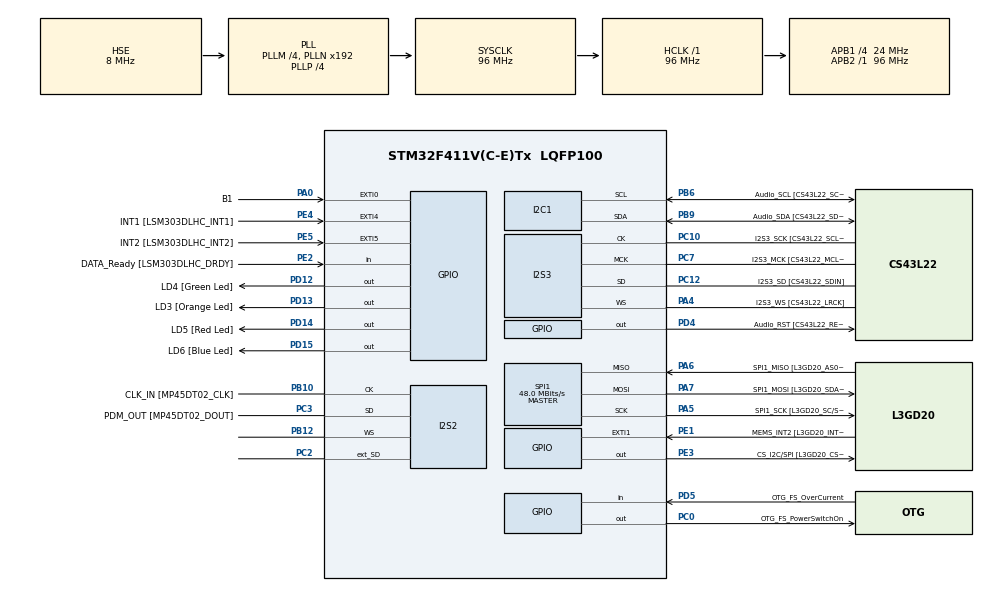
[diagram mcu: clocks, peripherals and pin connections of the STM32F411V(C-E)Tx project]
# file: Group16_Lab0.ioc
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I2S2.AudioFreq=I2S_AUDIOFREQ_96K
I2S2.ErrorAudioFreq=0.15 %
I2S2.FullDuplexMode=I2S_FULLDUPLEXMODE_ENABLE
I2S2.Instance=SPI$Index
I2S2.RealAudioFreq=96.153 KHz
I2S2.VirtualMode=I2S_MODE_MASTER
I2S3.AudioFreq=I2S_AUDIOFREQ_96K
I2S3.ErrorAudioFreq=-6.99 %
I2S3.FullDuplexMode=I2S_FULLDUPLEXMODE_DISABLE
I2S3.Instance=SPI$Index
I2S3.RealAudioFreq=89.285 KHz
I2S3.VirtualMode=I2S_MODE_MASTER
Mcu.Family=STM32F4
Mcu.Name=STM32F411V(C-E)Tx
Mcu.Package=LQFP100
NVIC.PriorityGroup=NVIC_PRIORITYGROUP_0
PA0-WKUP.GPIO_Label=B1
PA0-WKUP.GPIO_ModeDefaultEXTI=GPIO_MODE_EVT_RISING
PA0-WKUP.Signal=GPXTI0
PA10.GPIO_Label=OTG_FS_ID
PA10.Signal=USB_OTG_FS_ID
PA11.GPIO_Label=OTG_FS_DM
PA11.Signal=USB_OTG_FS_DM
PA12.GPIO_Label=OTG_FS_DP
PA12.Signal=USB_OTG_FS_DP
PA13.GPIO_Label=SWDIO
PA13.Mode=Serial_Wire
PA13.Signal=SYS_JTMS-SWDIO
PA14.GPIO_Label=SWCLK
PA14.Mode=Serial_Wire
PA14.Signal=SYS_JTCK-SWCLK
PA4.GPIO_Label=I2S3_WS [CS43L22_LRCK]
PA4.GPIO_Mode=GPIO_MODE_AF_PP
PA4.GPIO_PuPd=GPIO_NOPULL
PA4.GPIO_Speed=GPIO_SPEED_FREQ_LOW
PA4.Mode=Half_Duplex_Master
PA4.Signal=I2S3_WS
PA5.GPIO_Label=SPI1_SCK [L3GD20_SC/SPC]
PA5.Mode=Full_Duplex_Master
PA5.Signal=SPI1_SCK
PA6.GPIO_Label=SPI1_MISO [L3GD20_AS0/SDO]
PA6.Mode=Full_Duplex_Master
PA6.Signal=SPI1_MISO
PA7.GPIO_Label=SPI1_MOSI [L3GD20_SDA/SDI/SDO]
PA7.Mode=Full_Duplex_Master
PA7.Signal=SPI1_MOSI
PA9.GPIO_Label=VBUS_FS
PA9.Signal=USB_OTG_FS_VBUS
PB10.GPIO_Label=CLK_IN [MP45DT02_CLK]
PB10.Mode=Full_Duplex_Master
PB10.Signal=I2S2_CK
PB12.Mode=Full_Duplex_Master
PB12.Signal=I2S2_WS
PB3.GPIO_Label=SWO
PB3.Signal=SYS_JTDO-SWO
PB6.GPIO_Label=Audio_SCL [CS43L22_SCL]
PB6.GPIO_Mode=GPIO_MODE_AF_OD
PB6.GPIO_Pu=GPIO_PULLUP
PB6.GPIO_PuPd=GPIO_NOPULL
PB6.GPIO_Speed=GPIO_SPEED_FREQ_LOW
PB6.Mode=I2C
PB6.Signal=I2C1_SCL
PB9.GPIO_Label=Audio_SDA [CS43L22_SDA]
PB9.GPIO_Mode=GPIO_MODE_AF_OD
PB9.GPIO_Pu=GPIO_PULLUP
PB9.GPIO_PuPd=GPIO_NOPULL
PB9.GPIO_Speed=GPIO_SPEED_FREQ_LOW
PB9.Mode=I2C
PB9.Signal=I2C1_SDA
PC0.GPIO_Label=OTG_FS_PowerSwitchOn
PC0.PinState=GPIO_PIN_SET
PC0.Signal=GPIO_Output
PC10.GPIO_Label=I2S3_SCK [CS43L22_SCLK]
PC10.GPIO_Mode=GPIO_MODE_AF_PP
PC10.GPIO_PuPd=GPIO_NOPULL
PC10.GPIO_Speed=GPIO_SPEED_FREQ_LOW
PC10.Mode=Half_Duplex_Master
PC10.Signal=I2S3_CK
PC12.GPIO_Label=I2S3_SD [CS43L22_SDIN]
PC12.GPIO_Mode=GPIO_MODE_AF_PP
PC12.GPIO_PuPd=GPIO_NOPULL
PC12.GPIO_Speed=GPIO_SPEED_FREQ_LOW
PC12.Mode=Half_Duplex_Master
PC12.Signal=I2S3_SD
PC14-OSC32_IN.GPIO_Label=PC14-OSC32_IN
PC14-OSC32_IN.Mode=LSE-External-Oscillator
PC14-OSC32_IN.Signal=RCC_OSC32_IN
PC15-OSC32_OUT.GPIO_Label=PC15-OSC32_OUT
PC15-OSC32_OUT.Mode=LSE-External-Oscillator
PC15-OSC32_OUT.Signal=RCC_OSC32_OUT
PC2.Mode=Full_Duplex_Master
PC2.Signal=I2S2_ext_SD
PC3.GPIO_Label=PDM_OUT [MP45DT02_DOUT]
PC3.Mode=Full_Duplex_Master
PC3.Signal=I2S2_SD
PC7.GPIO_Label=I2S3_MCK [CS43L22_MCLK]
PC7.GPIO_Mode=GPIO_MODE_AF_PP
PC7.GPIO_PuPd=GPIO_NOPULL
PC7.GPIO_Speed=GPIO_SPEED_FREQ_LOW
PC7.Mode=Master_Clock_Activated
PC7.Signal=I2S3_MCK
PD12.GPIO_Label=LD4 [Green Led]
PD12.GPIO_PuPd=GPIO_NOPULL
PD12.GPIO_Speed=GPIO_SPEED_FREQ_LOW
PD12.Signal=GPIO_Output
PD13.GPIO_Label=LD3 [Orange Led]
PD13.GPIO_PuPd=GPIO_NOPULL
PD13.GPIO_Speed=GPIO_SPEED_FREQ_LOW
PD13.Signal=GPIO_Output
PD14.GPIO_Label=LD5 [Red Led]
PD14.GPIO_PuPd=GPIO_NOPULL
PD14.GPIO_Speed=GPIO_SPEED_FREQ_LOW
PD14.Signal=GPIO_Output
PD15.GPIO_Label=LD6 [Blue Led]
PD15.GPIO_PuPd=GPIO_NOPULL
PD15.GPIO_Speed=GPIO_SPEED_FREQ_LOW
PD15.Signal=GPIO_Output
PD4.GPIO_Label=Audio_RST [CS43L22_RESET]
PD4.Signal=GPIO_Output
PD5.GPIO_Label=OTG_FS_OverCurrent
PD5.Signal=GPIO_Input
PE1.GPIO_Label=MEMS_INT2 [L3GD20_INT2]
PE1.GPIO_ModeDefaultEXTI=GPIO_MODE_EVT_RISING
PE1.Signal=GPXTI1
PE2.GPIO_Label=DATA_Ready [LSM303DLHC_DRDY]
PE2.Signal=GPIO_Input
PE3.GPIO_Label=CS_I2C/SPI [L3GD20_CS_I2C/SPI]
PE3.Signal=GPIO_Output
PE4.GPIO_Label=INT1 [LSM303DLHC_INT1]
PE4.GPIO_ModeDefaultEXTI=GPIO_MODE_EVT_RISING
PE4.Signal=GPXTI4
PE5.GPIO_Label=INT2 [LSM303DLHC_INT2]
PE5.GPIO_ModeDefaultEXTI=GPIO_MODE_EVT_RISING
PE5.Signal=GPXTI5
PH0\ -\ OSC_IN.GPIO_Label=PH0-OSC_IN
PH0\ -\ OSC_IN.Mode=HSE-External-Oscillator
PH0\ -\ OSC_IN.Signal=RCC_OSC_IN
PH1\ -\ OSC_OUT.GPIO_Label=PH1-OSC_OUT
PH1\ -\ OSC_OUT.Mode=HSE-External-Oscillator
PH1\ -\ OSC_OUT.Signal=RCC_OSC_OUT
ProjectManager.HeapSize=0x200
ProjectManager.StackSize=0x400
ProjectManager.TargetToolchain=STM32CubeIDE
RCC.48MHZClocksFreq_Value=48000000
RCC.AHBFreq_Value=96000000
RCC.APB1CLKDivider=RCC_HCLK_DIV4
RCC.APB1Freq_Value=24000000
RCC.APB1TimFreq_Value=48000000
RCC.APB2Freq_Value=96000000
RCC.APB2TimFreq_Value=96000000
RCC.CortexFreq_Value=96000000
RCC.HCLKFreq_Value=96000000
RCC.HSE_VALUE=8000000
RCC.HSI_VALUE=16000000
RCC.PLLI2SM=5
RCC.PLLI2SN=200
RCC.PLLM=4
RCC.PLLP=RCC_PLLP_DIV4
RCC.PLLQ=8
RCC.PLLSourceVirtual=RCC_PLLSOURCE_HSE
RCC.SYSCLKFreq_VALUE=96000000
RCC.SYSCLKSource=RCC_SYSCLKSOURCE_PLLCLK
RCC.VCOOutputFreq_Value=384000000
SPI1.BaudRatePrescaler=SPI_BAUDRATEPRESCALER_2
SPI1.CalculateBaudRate=48.0 MBits/s
SPI1.Direction=SPI_DIRECTION_2LINES
SPI1.Mode=SPI_MODE_MASTER
SPI1.VirtualType=VM_MASTER
board=STM32F411E-DISCO

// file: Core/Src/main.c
/* USER CODE BEGIN Header */
/**
  ******************************************************************************
  * @file           : main.c
  * @brief          : Main program body
  ******************************************************************************
  * @attention
  *
  * Copyright (c) 2025 STMicroelectronics.
  * All rights reserved.
  *
  * This software is licensed under terms that can be found in the LICENSE file
  * in the root directory of this software component.
  * If no LICENSE file comes with this software, it is provided AS-IS.
  *
  ******************************************************************************
  */
/* USER CODE END Header */
#include "main.h"

/* USER CODE BEGIN PD */
#define ITM_Port32(n) (*((volatile unsigned long *)(0xE0000000+4*n)))
/* USER CODE END PD */

I2C_HandleTypeDef hi2c1;

I2S_HandleTypeDef hi2s2;
I2S_HandleTypeDef hi2s3;

SPI_HandleTypeDef hspi1;

void SystemClock_Config(void);
void PeriphCommonClock_Config(void);
static void MX_GPIO_Init(void);
static void MX_I2C1_Init(void);
static void MX_I2S2_Init(void);
static void MX_I2S3_Init(void);
static void MX_SPI1_Init(void);

/* USER CODE BEGIN 0 */
uint8_t Loop = 0;
/* USER CODE END 0 */

int main(void)
{

  /* MCU Configuration--------------------------------------------------------*/

  /* Reset of all peripherals, Initializes the Flash interface and the Systick. */
  HAL_Init();

  /* USER CODE BEGIN Init */
  int a = 32;
  int b = 37;
  /* USER CODE END Init */

  /* Configure the system clock */
  SystemClock_Config();

/* Configure the peripherals common clocks */
  PeriphCommonClock_Config();

  /* Initialize all configured peripherals */
  MX_GPIO_Init();
  MX_I2C1_Init();
  MX_I2S2_Init();
  MX_I2S3_Init();
  MX_SPI1_Init();
  /* USER CODE BEGIN 2 */
  int c = test_assembly(a, b);
  /* USER CODE END 2 */

  /* Infinite loop */
  /* USER CODE BEGIN WHILE */
  while (1)
  {
	printf("helloworld %d\n", c);
	HAL_GPIO_TogglePin(LD3_GPIO_Port, LD3_Pin);

	if(Loop < 100){
		Loop++;
	} else {
		Loop = 0;
	}

    /* USER CODE END WHILE */

    /* USER CODE BEGIN 3 */
	HAL_Delay(1000);
  }
  /* USER CODE END 3 */
}

void SystemClock_Config(void)
{
  RCC_OscInitTypeDef RCC_OscInitStruct = {0};
  RCC_ClkInitTypeDef RCC_ClkInitStruct = {0};

  /** Configure the main internal regulator output voltage
  */
  __HAL_RCC_PWR_CLK_ENABLE();
  __HAL_PWR_VOLTAGESCALING_CONFIG(PWR_REGULATOR_VOLTAGE_SCALE1);

  /** Initializes the RCC Oscillators according to the specified parameters
  * in the RCC_OscInitTypeDef structure.
  */
  RCC_OscInitStruct.OscillatorType = RCC_OSCILLATORTYPE_HSE;
  RCC_OscInitStruct.HSEState = RCC_HSE_ON;
  RCC_OscInitStruct.PLL.PLLState = RCC_PLL_ON;
  RCC_OscInitStruct.PLL.PLLSource = RCC_PLLSOURCE_HSE;
  RCC_OscInitStruct.PLL.PLLM = 4;
  RCC_OscInitStruct.PLL.PLLN = 192;
  RCC_OscInitStruct.PLL.PLLP = RCC_PLLP_DIV4;
  RCC_OscInitStruct.PLL.PLLQ = 8;
  if (HAL_RCC_OscConfig(&RCC_OscInitStruct) != HAL_OK)
  {
    Error_Handler();
  }

  /** Initializes the CPU, AHB and APB buses clocks
  */
  RCC_ClkInitStruct.ClockType = RCC_CLOCKTYPE_HCLK|RCC_CLOCKTYPE_SYSCLK
                              |RCC_CLOCKTYPE_PCLK1|RCC_CLOCKTYPE_PCLK2;
  RCC_ClkInitStruct.SYSCLKSource = RCC_SYSCLKSOURCE_PLLCLK;
  RCC_ClkInitStruct.AHBCLKDivider = RCC_SYSCLK_DIV1;
  RCC_ClkInitStruct.APB1CLKDivider = RCC_HCLK_DIV4;
  RCC_ClkInitStruct.APB2CLKDivider = RCC_HCLK_DIV1;

  if (HAL_RCC_ClockConfig(&RCC_ClkInitStruct, FLASH_LATENCY_3) != HAL_OK)
  {
    Error_Handler();
  }
}

void PeriphCommonClock_Config(void)
{
  RCC_PeriphCLKInitTypeDef PeriphClkInitStruct = {0};

  /** Initializes the peripherals clock
  */
  PeriphClkInitStruct.PeriphClockSelection = RCC_PERIPHCLK_I2S;
  PeriphClkInitStruct.PLLI2S.PLLI2SN = 200;
  PeriphClkInitStruct.PLLI2S.PLLI2SM = 5;
  PeriphClkInitStruct.PLLI2S.PLLI2SR = 2;
  if (HAL_RCCEx_PeriphCLKConfig(&PeriphClkInitStruct) != HAL_OK)
  {
    Error_Handler();
  }
}

static void MX_I2C1_Init(void)
{

  hi2c1.Instance = I2C1;
  hi2c1.Init.ClockSpeed = 100000;
  hi2c1.Init.DutyCycle = I2C_DUTYCYCLE_2;
  hi2c1.Init.OwnAddress1 = 0;
  hi2c1.Init.AddressingMode = I2C_ADDRESSINGMODE_7BIT;
  hi2c1.Init.DualAddressMode = I2C_DUALADDRESS_DISABLE;
  hi2c1.Init.OwnAddress2 = 0;
  hi2c1.Init.GeneralCallMode = I2C_GENERALCALL_DISABLE;
  hi2c1.Init.NoStretchMode = I2C_NOSTRETCH_DISABLE;
  if (HAL_I2C_Init(&hi2c1) != HAL_OK)
  {
    Error_Handler();
  }

}

static void MX_I2S2_Init(void)
{

  hi2s2.Instance = SPI2;
  hi2s2.Init.Mode = I2S_MODE_MASTER_TX;
  hi2s2.Init.Standard = I2S_STANDARD_PHILIPS;
  hi2s2.Init.DataFormat = I2S_DATAFORMAT_16B;
  hi2s2.Init.MCLKOutput = I2S_MCLKOUTPUT_DISABLE;
  hi2s2.Init.AudioFreq = I2S_AUDIOFREQ_96K;
  hi2s2.Init.CPOL = I2S_CPOL_LOW;
  hi2s2.Init.ClockSource = I2S_CLOCK_PLL;
  hi2s2.Init.FullDuplexMode = I2S_FULLDUPLEXMODE_ENABLE;
  if (HAL_I2S_Init(&hi2s2) != HAL_OK)
  {
    Error_Handler();
  }

}

static void MX_I2S3_Init(void)
{

  hi2s3.Instance = SPI3;
  hi2s3.Init.Mode = I2S_MODE_MASTER_TX;
  hi2s3.Init.Standard = I2S_STANDARD_PHILIPS;
  hi2s3.Init.DataFormat = I2S_DATAFORMAT_16B;
  hi2s3.Init.MCLKOutput = I2S_MCLKOUTPUT_ENABLE;
  hi2s3.Init.AudioFreq = I2S_AUDIOFREQ_96K;
  hi2s3.Init.CPOL = I2S_CPOL_LOW;
  hi2s3.Init.ClockSource = I2S_CLOCK_PLL;
  hi2s3.Init.FullDuplexMode = I2S_FULLDUPLEXMODE_DISABLE;
  if (HAL_I2S_Init(&hi2s3) != HAL_OK)
  {
    Error_Handler();
  }

}

static void MX_SPI1_Init(void)
{

  /* SPI1 parameter configuration*/
  hspi1.Instance = SPI1;
  hspi1.Init.Mode = SPI_MODE_MASTER;
  hspi1.Init.Direction = SPI_DIRECTION_2LINES;
  hspi1.Init.DataSize = SPI_DATASIZE_8BIT;
  hspi1.Init.CLKPolarity = SPI_POLARITY_LOW;
  hspi1.Init.CLKPhase = SPI_PHASE_1EDGE;
  hspi1.Init.NSS = SPI_NSS_SOFT;
  hspi1.Init.BaudRatePrescaler = SPI_BAUDRATEPRESCALER_2;
  hspi1.Init.FirstBit = SPI_FIRSTBIT_MSB;
  hspi1.Init.TIMode = SPI_TIMODE_DISABLE;
  hspi1.Init.CRCCalculation = SPI_CRCCALCULATION_DISABLE;
  hspi1.Init.CRCPolynomial = 10;
  if (HAL_SPI_Init(&hspi1) != HAL_OK)
  {
    Error_Handler();
  }

}

static void MX_GPIO_Init(void)
{
  GPIO_InitTypeDef GPIO_InitStruct = {0};

  /* GPIO Ports Clock Enable */
  __HAL_RCC_GPIOE_CLK_ENABLE();
  __HAL_RCC_GPIOC_CLK_ENABLE();
  __HAL_RCC_GPIOH_CLK_ENABLE();
  __HAL_RCC_GPIOA_CLK_ENABLE();
  __HAL_RCC_GPIOB_CLK_ENABLE();
  __HAL_RCC_GPIOD_CLK_ENABLE();

  /*Configure GPIO pin Output Level */
  HAL_GPIO_WritePin(CS_I2C_SPI_GPIO_Port, CS_I2C_SPI_Pin, GPIO_PIN_RESET);

  /*Configure GPIO pin Output Level */
  HAL_GPIO_WritePin(OTG_FS_PowerSwitchOn_GPIO_Port, OTG_FS_PowerSwitchOn_Pin, GPIO_PIN_SET);

  /*Configure GPIO pin Output Level */
  HAL_GPIO_WritePin(GPIOD, LD4_Pin|LD3_Pin|LD5_Pin|LD6_Pin
                          |Audio_RST_Pin, GPIO_PIN_RESET);

  /*Configure GPIO pin : DATA_Ready_Pin */
  GPIO_InitStruct.Pin = DATA_Ready_Pin;
  GPIO_InitStruct.Mode = GPIO_MODE_INPUT;
  GPIO_InitStruct.Pull = GPIO_NOPULL;
  HAL_GPIO_Init(DATA_Ready_GPIO_Port, &GPIO_InitStruct);

  /*Configure GPIO pin : CS_I2C_SPI_Pin */
  GPIO_InitStruct.Pin = CS_I2C_SPI_Pin;
  GPIO_InitStruct.Mode = GPIO_MODE_OUTPUT_PP;
  GPIO_InitStruct.Pull = GPIO_NOPULL;
  GPIO_InitStruct.Speed = GPIO_SPEED_FREQ_LOW;
  HAL_GPIO_Init(CS_I2C_SPI_GPIO_Port, &GPIO_InitStruct);

  /*Configure GPIO pins : INT1_Pin INT2_Pin MEMS_INT2_Pin */
  GPIO_InitStruct.Pin = INT1_Pin|INT2_Pin|MEMS_INT2_Pin;
  GPIO_InitStruct.Mode = GPIO_MODE_EVT_RISING;
  GPIO_InitStruct.Pull = GPIO_NOPULL;
  HAL_GPIO_Init(GPIOE, &GPIO_InitStruct);

  /*Configure GPIO pin : OTG_FS_PowerSwitchOn_Pin */
  GPIO_InitStruct.Pin = OTG_FS_PowerSwitchOn_Pin;
  GPIO_InitStruct.Mode = GPIO_MODE_OUTPUT_PP;
  GPIO_InitStruct.Pull = GPIO_NOPULL;
  GPIO_InitStruct.Speed = GPIO_SPEED_FREQ_LOW;
  HAL_GPIO_Init(OTG_FS_PowerSwitchOn_GPIO_Port, &GPIO_InitStruct);

  /*Configure GPIO pin : B1_Pin */
  GPIO_InitStruct.Pin = B1_Pin;
  GPIO_InitStruct.Mode = GPIO_MODE_EVT_RISING;
  GPIO_InitStruct.Pull = GPIO_NOPULL;
  HAL_GPIO_Init(B1_GPIO_Port, &GPIO_InitStruct);

  /*Configure GPIO pins : LD4_Pin LD3_Pin LD5_Pin LD6_Pin
                           Audio_RST_Pin */
  GPIO_InitStruct.Pin = LD4_Pin|LD3_Pin|LD5_Pin|LD6_Pin
                          |Audio_RST_Pin;
  GPIO_InitStruct.Mode = GPIO_MODE_OUTPUT_PP;
  GPIO_InitStruct.Pull = GPIO_NOPULL;
  GPIO_InitStruct.Speed = GPIO_SPEED_FREQ_LOW;
  HAL_GPIO_Init(GPIOD, &GPIO_InitStruct);

  /*Configure GPIO pin : VBUS_FS_Pin */
  GPIO_InitStruct.Pin = VBUS_FS_Pin;
  GPIO_InitStruct.Mode = GPIO_MODE_INPUT;
  GPIO_InitStruct.Pull = GPIO_NOPULL;
  HAL_GPIO_Init(VBUS_FS_GPIO_Port, &GPIO_InitStruct);

  /*Configure GPIO pins : OTG_FS_ID_Pin OTG_FS_DM_Pin OTG_FS_DP_Pin */
  GPIO_InitStruct.Pin = OTG_FS_ID_Pin|OTG_FS_DM_Pin|OTG_FS_DP_Pin;
  GPIO_InitStruct.Mode = GPIO_MODE_AF_PP;
  GPIO_InitStruct.Pull = GPIO_NOPULL;
  GPIO_InitStruct.Speed = GPIO_SPEED_FREQ_VERY_HIGH;
  GPIO_InitStruct.Alternate = GPIO_AF10_OTG_FS;
  HAL_GPIO_Init(GPIOA, &GPIO_InitStruct);

  /*Configure GPIO pin : OTG_FS_OverCurrent_Pin */
  GPIO_InitStruct.Pin = OTG_FS_OverCurrent_Pin;
  GPIO_InitStruct.Mode = GPIO_MODE_INPUT;
  GPIO_InitStruct.Pull = GPIO_NOPULL;
  HAL_GPIO_Init(OTG_FS_OverCurrent_GPIO_Port, &GPIO_InitStruct);

}

/* USER CODE BEGIN 4 */
int _write(int file, char* ptr, int len) {
	int DataIdx;
	for (DataIdx = 0; DataIdx < len; DataIdx++) {
		ITM_SendChar(*ptr++);
	}
	return len;
}

int test_assembly(int a, int b) {
	int res = 0;
	__asm volatile ("ADD %[result], %[input_i], %[input_b]" // ADD dest, arg1, arg2
	: [result] "=r" (res) // destination res
	: [input_i] "r" (a), [input_b] "r" (b) // add values stored in a and b
	);

  return res;
}
/* USER CODE END 4 */

void Error_Handler(void)
{
  __disable_irq();
  while (1)
  {
  }
}
